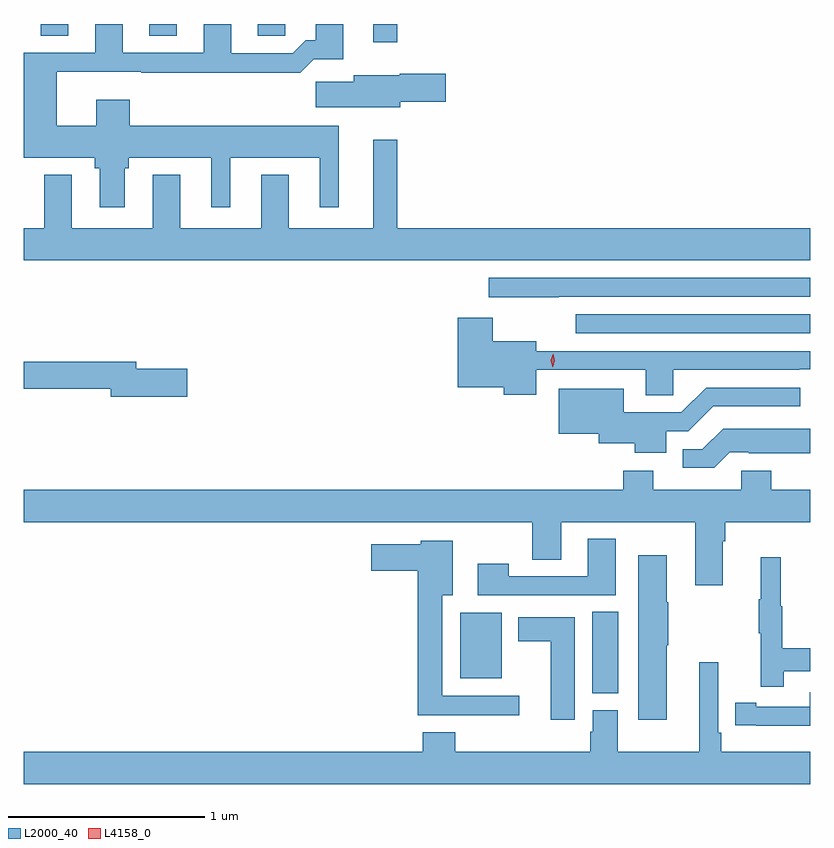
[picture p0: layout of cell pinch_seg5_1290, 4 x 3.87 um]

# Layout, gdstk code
import gdstk
lib = gdstk.Library(unit=1e-6, precision=1e-09)
def R(c, l, rs):  # rectangles x0, y0, x1, y1
    for r in rs: c.add(gdstk.rectangle(r[:2], r[2:], *l))
def P(c, l, *ps):  # polygons
    for p in ps: c.add(gdstk.Polygon(p, *l))
L2000_40 = (2000, 40)
L4158_0 = (4158, 0)

pinch_seg5_1290 = lib.new_cell('pinch_seg5_1290')
R(pinch_seg5_1290, L2000_40, [(506.564,837.241,506.698,837.656), (505.892,837.317,506.104,837.652), (506.481,839.073,507.673,839.169), (505.451,840.555,505.573,840.647), (503.759,840.586,503.899,840.647), (504.311,840.586,504.451,840.647), (504.863,840.586,505.002,840.647)])
P(pinch_seg5_1290, L2000_40, [(504.187,839.913),(504.207,839.913),(504.207,839.966),(504.626,839.966),(504.626,839.715),(504.724,839.715),(504.724,839.966),(505.178,839.966),(505.178,839.715),(505.276,839.715),(505.276,840.13),(504.212,840.13),(504.212,840.262),(504.041,840.262),(504.041,840.13),(503.839,840.13),(503.839,840.404),(504.271,840.404),(504.271,840.4),(504.823,840.4),(504.823,840.398),(505.079,840.398),(505.148,840.467),(505.297,840.467),(505.297,840.647),(505.157,840.647),(505.157,840.565),(505.108,840.565),(505.041,840.498),(504.727,840.498),(504.727,840.647),(504.587,840.647),(504.587,840.501),(504.175,840.501),(504.175,840.647),(504.035,840.647),(504.035,840.501),(503.673,840.501),(503.673,839.966),(504.034,839.966),(504.034,839.913),(504.059,839.913),(504.059,839.715),(504.187,839.715)],
  [(505.588,840.251),(505.819,840.251),(505.819,840.393),(505.584,840.393),(505.584,840.385),(505.352,840.385),(505.352,840.353),(505.158,840.353),(505.158,840.224),(505.588,840.224)],
  [(507.673,839.608),(505.573,839.608),(505.573,840.058),(505.451,840.058),(505.451,839.608),(505.021,839.608),(505.021,839.881),(504.881,839.881),(504.881,839.608),(504.469,839.608),(504.469,839.881),(504.329,839.881),(504.329,839.608),(503.917,839.608),(503.917,839.881),(503.777,839.881),(503.777,839.608),(503.673,839.608),(503.673,839.444),(507.673,839.444)],
  [(506.393,839.259),(507.673,839.259),(507.673,839.355),(506.037,839.355),(506.037,839.257),(506.393,839.257)],
  [(506.976,838.887),(507.617,838.887),(507.617,838.89),(507.673,838.89),(507.673,838.983),(506.281,838.983),(506.281,839.032),(506.058,839.032),(506.058,839.152),(505.88,839.152),(505.88,838.799),(506.114,838.799),(506.114,838.76),(506.281,838.76),(506.281,838.887),(506.837,838.887),(506.837,838.757),(506.976,838.757)],
  [(504.505,838.892),(504.244,838.892),(504.244,838.928),(503.673,838.928),(503.673,838.792),(504.116,838.792),(504.116,838.75),(504.505,838.75)],
  [(506.941,838.575),(507.054,838.575),(507.18,838.701),(507.622,838.701),(507.622,838.797),(507.144,838.797),(507.018,838.671),(506.725,838.671),(506.725,838.792),(506.393,838.792),(506.393,838.562),(506.597,838.562),(506.597,838.514),(506.78,838.514),(506.78,838.466),(506.941,838.466)],
  [(507.265,838.467),(507.361,838.467),(507.361,838.463),(507.673,838.463),(507.673,838.588),(507.331,838.588),(507.331,838.587),(507.23,838.587),(507.125,838.482),(507.026,838.482),(507.026,838.388),(507.186,838.388)],
  [(507.089,837.792),(507.229,837.792),(507.229,838.016),(507.242,838.016),(507.242,838.112),(507.673,838.112),(507.673,838.276),(507.476,838.276),(507.476,838.375),(507.324,838.375),(507.324,838.276),(506.875,838.276),(506.875,838.375),(506.723,838.375),(506.723,838.276),(503.673,838.276),(503.673,838.112),(506.26,838.112),(506.26,837.922),(506.407,837.922),(506.407,838.112),(507.089,838.112)],
  [(506.683,838.027),(506.543,838.027),(506.543,837.837),(506.139,837.837),(506.139,837.901),(505.983,837.901),(505.983,837.741),(506.683,837.741)],
  [(506.194,837.228),(505.801,837.228),(505.801,837.74),(505.855,837.74),(505.855,838.018),(505.692,838.018),(505.692,838),(505.44,838),(505.44,837.866),(505.676,837.866),(505.676,837.131),(506.194,837.131)],
  [(506.944,837.487),(506.952,837.487),(506.952,837.704),(506.944,837.704),(506.944,837.943),(506.798,837.943),(506.798,837.108),(506.944,837.108)],
  [(507.539,837.354),(507.673,837.354),(507.673,837.47),(507.532,837.47),(507.532,837.684),(507.524,837.684),(507.524,837.934),(507.422,837.934),(507.422,837.721),(507.411,837.721),(507.411,837.547),(507.422,837.547),(507.422,837.276),(507.539,837.276)],
  [(506.476,837.628),(506.189,837.628),(506.189,837.506),(506.354,837.506),(506.354,837.108),(506.476,837.108)],
  [(507.673,836.944),(507.221,836.944),(507.221,837.04),(507.207,837.04),(507.207,837.4),(507.11,837.4),(507.11,836.944),(506.695,836.944),(506.695,837.156),(506.567,837.156),(506.567,837.045),(506.555,837.045),(506.555,836.944),(505.868,836.944),(505.868,837.043),(505.703,837.043),(505.703,836.944),(503.673,836.944),(503.673,836.78),(507.673,836.78)],
  [(507.673,837.246),(507.672,837.246),(507.672,837.174),(507.4,837.174),(507.4,837.194),(507.292,837.194),(507.292,837.078),(507.4,837.078),(507.4,837.077),(507.673,837.077)])
P(pinch_seg5_1290, L4158_0, [(506.363,838.9),(506.363,838.9),(506.354,838.935),(506.365,838.969),(506.366,838.969),(506.366,838.969),(506.374,838.934),(506.363,838.9)])

lib.write_gds('pinch_seg5_1290.gds')
